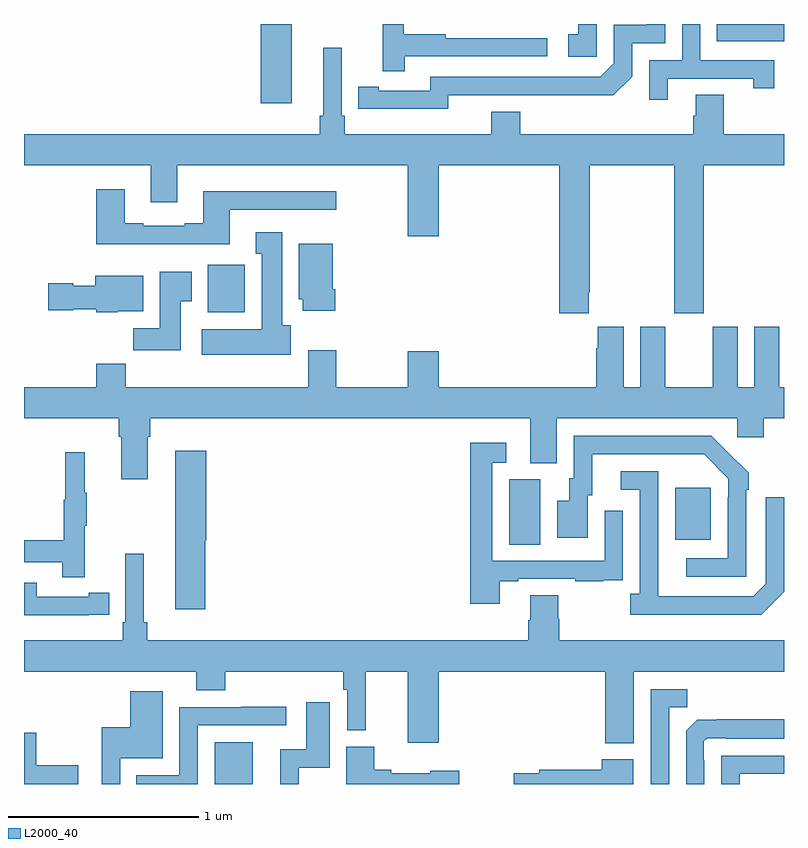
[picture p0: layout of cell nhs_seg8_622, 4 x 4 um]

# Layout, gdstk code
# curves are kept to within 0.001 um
import gdstk
lib = gdstk.Library(unit=1e-6, precision=1e-09)
def R(c, l, rs):  # rectangles x0, y0, x1, y1
    for r in rs: c.add(gdstk.rectangle(r[:2], r[2:], *l))
def P(c, l, *ps):  # polygons
    for p in ps: c.add(gdstk.Polygon(p, *l))
L2000_40 = (2000, 40)

nhs_seg8_622 = lib.new_cell('nhs_seg8_622')
R(nhs_seg8_622, L2000_40, [(152.003,1123.9,152.203,1124.119), (153.554,1125.16,153.718,1125.504), (154.427,1125.185,154.615,1125.46), (151.967,1126.382,152.163,1126.633), (152.246,1127.484,152.41,1127.9), (154.645,1127.808,155,1127.9)])
P(nhs_seg8_622, L2000_40, [(154.014,1127.9),(153.917,1127.9),(153.917,1127.847),(153.864,1127.847),(153.864,1127.727),(154.014,1127.727)],
  [(153.005,1127.73),(153.754,1127.73),(153.754,1127.826),(153.221,1127.826),(153.221,1127.846),(152.998,1127.846),(152.998,1127.9),(152.888,1127.9),(152.888,1127.652),(153.005,1127.652)],
  [(153.234,1127.526),(154.102,1127.525),(154.2,1127.622),(154.2,1127.799),(154.374,1127.799),(154.374,1127.9),(154.277,1127.9),(154.277,1127.895),(154.104,1127.895),(154.104,1127.694),(154.032,1127.622),(153.138,1127.622),(153.138,1127.55),(152.866,1127.55),(152.866,1127.57),(152.758,1127.57),(152.758,1127.454),(153.234,1127.453)],
  [(154.387,1127.613),(154.838,1127.613),(154.838,1127.562),(154.949,1127.562),(154.949,1127.709),(154.56,1127.709),(154.56,1127.9),(154.464,1127.9),(154.464,1127.709),(154.29,1127.709),(154.29,1127.502),(154.387,1127.502)],
  [(153.973,1126.489),(153.978,1126.489),(153.978,1127.156),(154.423,1127.156),(154.423,1126.377),(154.578,1126.377),(154.578,1127.156),(155,1127.156),(155,1127.32),(154.683,1127.32),(154.683,1127.528),(154.535,1127.528),(154.535,1127.418),(154.523,1127.418),(154.523,1127.32),(153.611,1127.32),(153.611,1127.437),(153.458,1127.437),(153.458,1127.32),(152.687,1127.32),(152.687,1127.416),(152.673,1127.416),(152.673,1127.776),(152.576,1127.776),(152.576,1127.416),(152.557,1127.416),(152.557,1127.32),(151,1127.32),(151,1127.156),(151.667,1127.156),(151.667,1126.962),(151.807,1126.962),(151.807,1127.156),(153.02,1127.156),(153.02,1126.782),(153.184,1126.782),(153.184,1127.156),(153.818,1127.156),(153.818,1126.377),(153.973,1126.377)],
  [(152.083,1126.923),(152.644,1126.923),(152.644,1127.02),(151.943,1127.02),(151.943,1126.852),(151.847,1126.852),(151.847,1126.839),(151.627,1126.839),(151.627,1126.852),(151.531,1126.852),(151.531,1127.029),(151.379,1127.029),(151.379,1126.742),(152.083,1126.742)],
  [(152.404,1126.314),(152.359,1126.314),(152.359,1126.804),(152.219,1126.804),(152.219,1126.691),(152.252,1126.691),(152.252,1126.294),(151.935,1126.294),(151.935,1126.16),(152.404,1126.16)],
  [(152.639,1126.504),(152.626,1126.504),(152.626,1126.744),(152.447,1126.744),(152.447,1126.452),(152.468,1126.452),(152.468,1126.392),(152.639,1126.392)],
  [(151.825,1126.441),(151.882,1126.441),(151.882,1126.597),(151.715,1126.597),(151.715,1126.3),(151.576,1126.3),(151.576,1126.182),(151.825,1126.182)],
  [(151.494,1126.388),(151.627,1126.388),(151.627,1126.576),(151.376,1126.576),(151.376,1126.522),(151.26,1126.522),(151.26,1126.535),(151.128,1126.535),(151.128,1126.393),(151.26,1126.393),(151.26,1126.4),(151.38,1126.4),(151.38,1126.382),(151.494,1126.382)],
  [(151.651,1125.728),(151.664,1125.728),(151.664,1125.824),(153.665,1125.824),(153.665,1125.589),(153.805,1125.589),(153.805,1125.824),(154.755,1125.824),(154.755,1125.726),(154.894,1125.726),(154.894,1125.824),(155,1125.824),(155,1125.988),(154.975,1125.988),(154.975,1126.306),(154.844,1126.306),(154.844,1125.988),(154.756,1125.988),(154.756,1126.306),(154.625,1126.306),(154.625,1125.988),(154.375,1125.988),(154.375,1126.306),(154.244,1126.306),(154.244,1125.988),(154.156,1125.988),(154.156,1126.306),(154.019,1126.306),(154.019,1126.193),(154.013,1126.193),(154.013,1125.988),(153.184,1125.988),(153.184,1126.177),(153.02,1126.177),(153.02,1125.988),(152.643,1125.988),(152.643,1126.183),(152.495,1126.183),(152.495,1125.988),(151.535,1125.988),(151.535,1126.112),(151.379,1126.112),(151.379,1125.988),(151,1125.988),(151,1125.824),(151.499,1125.824),(151.499,1125.728),(151.511,1125.728),(151.511,1125.504),(151.651,1125.504)],
  [(154.8,1125.449),(154.815,1125.449),(154.815,1125.537),(154.618,1125.732),(153.894,1125.732),(153.894,1125.51),(153.869,1125.51),(153.869,1125.391),(153.806,1125.391),(153.806,1125.195),(153.967,1125.195),(153.967,1125.42),(153.991,1125.42),(153.991,1125.636),(154.579,1125.636),(154.707,1125.507),(154.707,1125.407),(154.704,1125.407),(154.704,1125.087),(154.485,1125.087),(154.485,1124.991),(154.8,1124.991)],
  [(153.505,1124.967),(153.601,1124.967),(153.601,1124.979),(153.901,1124.979),(153.901,1124.967),(154.049,1124.967),(154.049,1124.973),(154.151,1124.973),(154.151,1125.082),(154.152,1125.082),(154.152,1125.337),(154.056,1125.337),(154.056,1125.075),(153.465,1125.075),(153.465,1125.591),(153.538,1125.591),(153.538,1125.697),(153.349,1125.697),(153.349,1124.85),(153.505,1124.85)],
  [(151.955,1125.183),(151.96,1125.183),(151.96,1125.655),(151.796,1125.655),(151.796,1124.82),(151.955,1124.82)],
  [(151.319,1125.259),(151.33,1125.259),(151.33,1125.433),(151.319,1125.433),(151.319,1125.646),(151.216,1125.646),(151.216,1125.396),(151.209,1125.396),(151.209,1125.182),(151,1125.182),(151,1125.066),(151.201,1125.066),(151.201,1124.988),(151.319,1124.988)],
  [(155,1124.912),(155,1125.409),(154.905,1125.409),(154.905,1124.955),(154.839,1124.889),(154.339,1124.889),(154.338,1125.546),(154.14,1125.546),(154.14,1125.45),(154.242,1125.45),(154.242,1124.902),(154.191,1124.902),(154.191,1124.792),(154.88,1124.792)],
  [(154.21,1124.492),(155,1124.492),(155,1124.656),(153.818,1124.656),(153.818,1124.769),(153.813,1124.769),(153.813,1124.894),(153.665,1124.894),(153.665,1124.762),(153.653,1124.762),(153.653,1124.656),(151.649,1124.656),(151.649,1124.752),(151.63,1124.752),(151.63,1125.112),(151.533,1125.112),(151.533,1124.752),(151.52,1124.752),(151.52,1124.656),(151,1124.656),(151,1124.492),(151.907,1124.492),(151.907,1124.393),(152.06,1124.393),(152.06,1124.492),(152.68,1124.492),(152.68,1124.396),(152.7,1124.396),(152.7,1124.184),(152.799,1124.184),(152.799,1124.492),(153.02,1124.492),(153.02,1124.118),(153.184,1124.118),(153.184,1124.492),(154.058,1124.492),(154.058,1124.114),(154.21,1124.114)],
  [(151.34,1124.79),(151.448,1124.79),(151.448,1124.906),(151.34,1124.906),(151.34,1124.886),(151.068,1124.886),(151.068,1124.958),(151,1124.958),(151,1124.789),(151.34,1124.789)],
  [(154.395,1124.305),(154.491,1124.305),(154.491,1124.4),(154.299,1124.4),(154.299,1123.9),(154.395,1123.9)],
  [(151.506,1124.036),(151.729,1124.036),(151.729,1124.389),(151.559,1124.389),(151.559,1124.199),(151.41,1124.199),(151.41,1123.9),(151.506,1123.9)],
  [(152.446,1123.986),(152.608,1123.986),(152.608,1124.329),(152.486,1124.329),(152.486,1124.082),(152.348,1124.082),(152.348,1123.9),(152.446,1123.9)],
  [(151.914,1124.208),(152.38,1124.208),(152.38,1124.306),(152.143,1124.306),(152.143,1124.304),(151.818,1124.304),(151.818,1123.945),(151.591,1123.945),(151.591,1123.9),(151.914,1123.9)],
  [(154.581,1124.024),(154.578,1124.024),(154.578,1124.124),(154.596,1124.142),(154.696,1124.142),(154.696,1124.139),(155,1124.139),(155,1124.24),(154.544,1124.239),(154.485,1124.18),(154.485,1123.9),(154.581,1123.9)],
  [(151.285,1124),(151.065,1124),(151.065,1124.17),(151,1124.17),(151,1123.9),(151.285,1123.9)],
  [(153.292,1123.969),(153.138,1123.969),(153.138,1123.957),(152.932,1123.957),(152.932,1123.976),(152.844,1123.976),(152.844,1124.095),(152.696,1124.095),(152.696,1123.9),(153.292,1123.9)],
  [(154.767,1123.953),(155,1123.953),(155,1124.049),(154.671,1124.049),(154.671,1123.9),(154.767,1123.9)],
  [(154.207,1124.029),(154.04,1124.029),(154.04,1123.976),(153.712,1123.976),(153.712,1123.956),(153.578,1123.956),(153.578,1123.9),(154.207,1123.9)])

lib.write_gds('nhs_seg8_622.gds')
